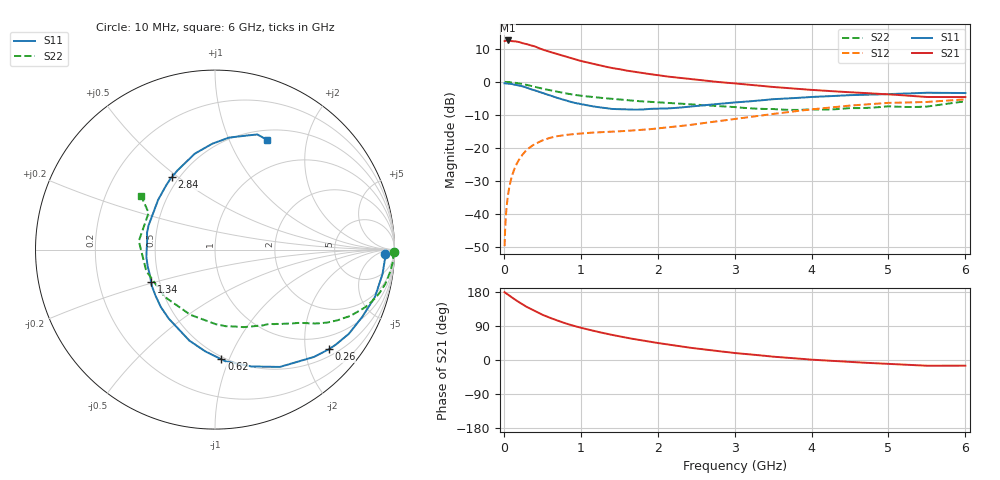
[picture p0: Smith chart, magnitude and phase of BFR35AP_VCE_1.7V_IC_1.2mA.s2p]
! Infineon Technologies  Discrete & RF Semiconductors
! BFR35AP
! VCE =  1.7 V,  IC =  1.2 mA
! Common Emitter S-Parameters:  Nov 2015
# GHz  S  MA  R  50
!  f  S11  S21  S12  S22
! GHz  MAG  ANG  MAG  ANG  MAG  ANG  MAG  ANG
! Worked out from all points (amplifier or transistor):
!   210 points, 10 MHz to 6 GHz, reference 50 ohm
!   highest |S21| = 12.5 dB at 50 MHz (marker M1)
!   |S21| within 3 dB of that: start of sweep to 537.1 MHz
!   unconditionally stable (mu >= 1): 1.331 GHz to end of sweep
!   at 185 MHz: K = 0.17, MSG = 18.0 dB, |S12| = -24.0 dB
!   at 1.52 GHz: K = 1.10, MAG = 7.5 dB, |S12| = -14.9 dB
!   at 6 GHz: K = 1.05, MAG = -1.1 dB, |S12| = -5.3 dB
!   S11 on the Smith chart (normalised r, x): 10 MHz: 29, -14; 260 MHz: 0.65, -2.51; 620 MHz: 0.48, -0.94; 1.34 GHz: 0.45, -0.19; 2.84 GHz: 0.46, +0.47; 6 GHz: 0.62, +1.40
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0.01  0.9454 -1.6  4.111 179.1  0.0033 87.8  0.9987 -0.7
0.015  0.9468 -2.4  4.142 178.1  0.0052 85.1  0.9964 -1.1
0.025  0.9469 -4.0  4.179 176.4  0.0089 84.4  0.994 -2.0
0.05  0.9431 -8.3  4.21 173.1  0.0181 85.5  0.9935 -3.9
0.095  0.93 -15.6  4.125 167.1  0.034 80.7  0.9829 -7.3
0.15  0.902 -24.6  4.081 158.7  0.0526 74.8  0.9677 -11.5
0.2  0.8809 -32.2  3.982 152.3  0.0675 70.4  0.9469 -14.9
0.26  0.843 -41.2  3.785 144.8  0.0841 65.0  0.9178 -18.6
0.3  0.8135 -47.3  3.7 139.8  0.0946 62.1  0.8975 -20.9
0.4  0.7467 -61.1  3.434 129.5  0.1147 54.7  0.8408 -26.0
0.5  0.6813 -72.8  3.08 119.5  0.13 49.2  0.7876 -30.0
0.62  0.6122 -86.7  2.785 109.8  0.1444 43.9  0.738 -33.5
0.8  0.5275 -105.6  2.409 96.7  0.1574 38.3  0.6705 -37.8
1.02  0.4568 -125.9  2.041 84.2  0.1663 34.4  0.6129 -41.9
1.34  0.3985 -153.5  1.676 69.1  0.1757 31.9  0.5621 -47.3
1.68  0.3802 179.7  1.43 55.6  0.1838 33.4  0.5171 -53.2
2.02  0.3938 158.9  1.246 44.3  0.1992 35.2  0.4896 -60.0
2.84  0.4697 120.9  0.981 22.3  0.2588 38.2  0.4274 -83.4
3.1  0.4971 112.5  0.923 16.7  0.285 37.4  0.4058 -93.4
4.1  0.5969 89.6  0.742 -0.3  0.3938 29.0  0.3813 -142.1
5.1  0.6576 75.0  0.636 -11.4  0.4834 14.6  0.4211 169.2
6  0.6769 64.4  0.588 -15.0  0.5428 3.6  0.5073 144.1
